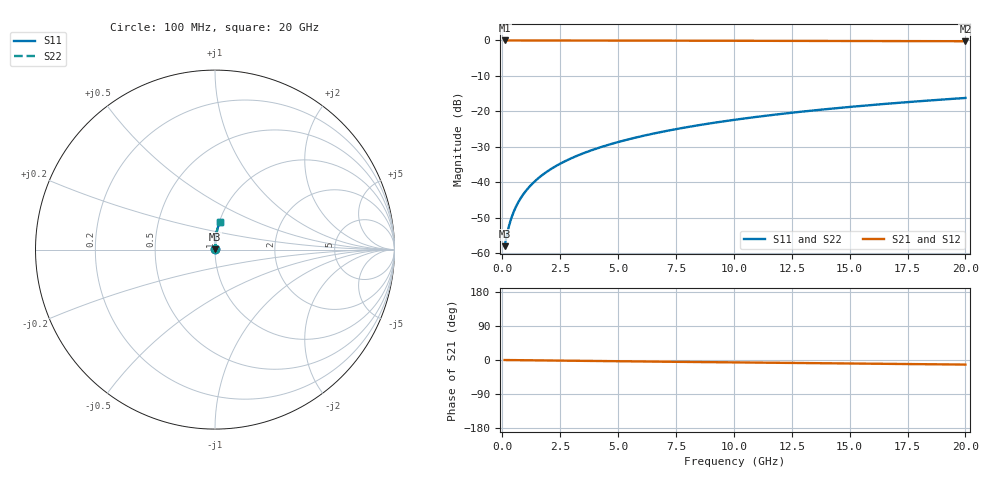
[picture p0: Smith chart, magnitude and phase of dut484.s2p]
! Touchstone file exported from HFSS 2024.1.0
!  File:  C:/UserFiles/LocalFiles/RDL_TSV_Batchsim/temp_RDL_bottom_484_1779686547.aedt
!  Generated:  01:24:53 PM May 25, 2026
!  Design:  RDL_bottom
!  Project:  temp_RDL_bottom_484_1779686547
!  Setup:  Setup1
!  Solution:  Sweep
! Variables:
!  dtsv = 10.80580581um
!  hbump = 3um
!  htsv = 82.71um
!  ldown = 120.74um
!  lrdl = 100um
!  p = 40
!  p1 = 50.29um
!  rhole = 1um
!  t = 450um
!  tdown = 3.18um
!  trdl = 3.915915916um
!  wdown = 17.66um
!  wrdl = 20um
# GHz S MA R 50.000000
! Terminal data exported
! Port[1] = RDL1_T1
! Port[2] = RDL1_T2
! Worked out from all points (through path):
!   200 points, 100 MHz to 20 GHz, reference 50 ohm
!   highest |S21| = -0.01 dB at 100 MHz (marker M1); lowest = -0.2 dB at 20 GHz (marker M2)
!   group delay of S21, straight-line fit = 1.67 ps
!   lowest |S11| = -58.0 dB at 100 MHz (marker M3), VSWR 1.00, Z = 50.1 + j0.0766 ohm
!   |S11| at or under -10 dB: start of sweep to end of sweep
!   |S22| runs from -58.0 to -16.2 dB; largest |S21 - S12| = 2.2e-15
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0.1  0.001252 37.7  0.999 -0.1  0.999 -0.1  0.001252 37.7
! Gamma 0 0 0 0
! Port Impedance 50 0 50 0
0.2  0.001828 56.3  0.999 -0.1  0.999 -0.1  0.001828 56.3
0.3  0.002492 65.3  0.9989 -0.2  0.9989 -0.2  0.002492 65.3
0.4  0.003182 70.3  0.9989 -0.3  0.9989 -0.3  0.003182 70.3
0.5  0.003879 73.6  0.9989 -0.3  0.9989 -0.3  0.003879 73.6
0.6  0.004579 75.9  0.9988 -0.4  0.9988 -0.4  0.004579 75.9
0.8  0.005988 79.0  0.9988 -0.5  0.9988 -0.5  0.005988 79.0
1.1  0.008118 81.7  0.9987 -0.7  0.9987 -0.7  0.008118 81.7
1.5  0.01098 83.8  0.9985 -1.0  0.9985 -1.0  0.01098 83.8
1.8  0.01314 84.8  0.9983 -1.2  0.9983 -1.2  0.01314 84.8
2.1  0.01532 85.5  0.9982 -1.4  0.9982 -1.4  0.01532 85.5
2.7  0.0197 86.4  0.9978 -1.8  0.9978 -1.8  0.0197 86.4
3.5  0.02559 87.1  0.9971 -2.3  0.9971 -2.3  0.02559 87.1
4.2  0.03081 87.4  0.9965 -2.8  0.9965 -2.8  0.03081 87.4
5  0.03683 87.5  0.9956 -3.3  0.9956 -3.3  0.03683 87.5
5.9  0.04369 87.5  0.9946 -3.8  0.9946 -3.8  0.04369 87.5
6.8  0.05062 87.4  0.9934 -4.4  0.9934 -4.4  0.05062 87.4
8.3  0.0623 86.9  0.9915 -5.3  0.9915 -5.3  0.0623 86.9
10.1  0.07647 86.1  0.989 -6.4  0.989 -6.4  0.07647 86.1
13.4  0.1026 84.3  0.9843 -8.3  0.9843 -8.3  0.1026 84.3
16.7  0.1286 82.3  0.9795 -10.2  0.9795 -10.2  0.1286 82.3
20  0.1543 80.3  0.9744 -12.1  0.9744 -12.1  0.1543 80.3
